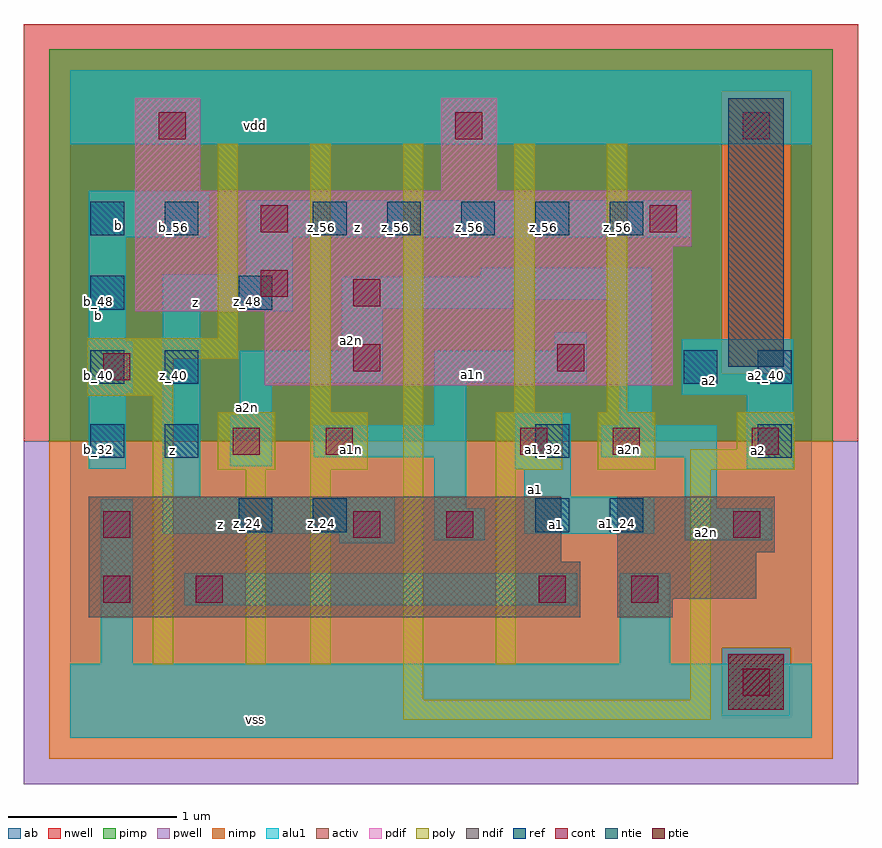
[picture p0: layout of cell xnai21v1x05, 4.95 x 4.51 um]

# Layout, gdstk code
import gdstk
lib = gdstk.Library(unit=1e-6, precision=2.5e-09)
def R(c, l, rs):  # rectangles x0, y0, x1, y1
    for r in rs: c.add(gdstk.rectangle(r[:2], r[2:], *l))
def A(c, l, x, y, w, h, nx, ny, dx, dy):  # array of equal rectangles
    R(c, l, [(x+i*dx, y+j*dy, x+i*dx+w, y+j*dy+h) for i in range(nx) for j in range(ny)])
ndif = (3, 0)
pdif = (4, 0)
ntie = (5, 0)
ptie = (6, 0)
ref = (24, 0)
cont = (25, 0)
pwell = (41, 0)
nwell = (42, 0)
activ = (43, 0)
pimp = (44, 0)
nimp = (45, 0)
poly = (46, 0)
alu1 = (49, 0)
ab = (63, 0)

xnai21v1x05 = lib.new_cell('xnai21v1x05')
R(xnai21v1x05, ndif, [(0.11,0.715,3.025,1.045), (3.245,0.715,3.575,0.825), (3.245,0.825,4.07,1.1), (0.11,1.045,2.915,1.43), (3.245,1.1,4.18,1.43)])
R(xnai21v1x05, pdif, [(1.155,2.09,3.575,2.53), (0.385,2.53,3.575,2.915), (0.385,2.915,3.685,3.245), (0.385,3.245,0.77,3.795), (2.2,3.245,2.53,3.795)])
R(xnai21v1x05, ntie, [(3.905,2.2,4.235,3.795)])
R(xnai21v1x05, ptie, [(3.905,0.165,4.235,0.495)])
A(xnai21v1x05, ref, 0.12, 1.66, 0.2, 0.2, 1, 4, 0, 0.44)
A(xnai21v1x05, ref, 1.44, 2.98, 0.2, 0.2, 5, 1, 0.44, 0)
R(xnai21v1x05, ref, [(1,1.22,1.2,1.42), (1.44,1.22,1.64,1.42), (2.76,1.22,2.96,1.42), (3.2,1.22,3.4,1.42), (0.56,1.66,0.76,1.86), (2.76,1.66,2.96,1.86), (4.08,1.66,4.28,1.86), (0.56,2.1,0.76,2.3), (3.64,2.1,3.84,2.3), (4.08,2.1,4.28,2.3), (1,2.54,1.2,2.74), (0.56,2.98,0.76,3.18)])
R(xnai21v1x05, cont, [(3.99,0.25,4.15,0.41), (0.195,0.8,0.355,0.96), (0.745,0.8,0.905,0.96), (2.78,0.8,2.94,0.96), (3.33,0.8,3.49,0.96), (0.195,1.185,0.355,1.345), (1.68,1.185,1.84,1.345), (2.23,1.185,2.39,1.345), (3.935,1.185,4.095,1.345), (0.965,1.68,1.125,1.84), (1.515,1.68,1.675,1.84), (2.67,1.68,2.83,1.84), (3.22,1.68,3.38,1.84), (4.045,1.68,4.205,1.84), (0.195,2.12,0.355,2.28), (1.68,2.175,1.84,2.335), (2.89,2.175,3.05,2.335), (1.68,2.56,1.84,2.72), (1.13,2.615,1.29,2.775), (1.13,3,1.29,3.16), (3.44,3,3.6,3.16), (0.525,3.55,0.685,3.71), (2.285,3.55,2.445,3.71), (3.99,3.55,4.15,3.71)])
R(xnai21v1x05, pwell, [(-0.275,-0.275,4.675,1.76)])
R(xnai21v1x05, nwell, [(-0.275,1.76,4.675,4.235)])
R(xnai21v1x05, activ, [(3.905,0.165,4.235,0.495), (0.11,0.715,3.025,1.045), (3.245,0.715,3.575,0.825), (3.245,0.825,4.07,1.1), (0.11,1.045,2.915,1.43), (3.245,1.1,4.18,1.43), (1.155,2.09,3.575,2.53), (3.905,2.2,4.235,3.795), (0.385,2.53,3.575,2.915), (0.385,2.915,3.685,3.245), (0.385,3.245,0.77,3.795), (2.2,3.245,2.53,3.795)])
R(xnai21v1x05, pimp, [(3.865,0.125,4.275,0.535), (-0.125,1.76,4.525,2.16), (-0.125,2.16,3.865,3.835), (4.275,2.16,4.525,3.835), (-0.125,3.835,4.525,4.085)])
R(xnai21v1x05, nimp, [(-0.125,-0.125,4.525,0.125), (-0.125,0.125,3.865,0.535), (4.275,0.125,4.525,0.535), (-0.125,0.535,4.525,1.76), (3.865,2.16,4.275,3.835)])
R(xnai21v1x05, poly, [(1.975,0.105,3.8,0.225), (1.975,0.225,2.095,3.525), (3.68,0.225,3.8,1.59), (0.49,0.435,0.61,2.03), (1.04,0.435,1.16,1.59), (1.425,0.435,1.545,1.59), (2.525,0.435,2.645,1.59), (0.875,1.59,1.215,1.93), (1.425,1.59,1.765,1.93), (2.525,1.59,2.92,1.93), (3.13,1.59,3.47,1.93), (3.68,1.59,4.295,1.71), (3.955,1.71,4.295,1.93), (1.425,1.93,1.545,3.525), (2.635,1.93,2.755,3.525), (3.185,1.93,3.305,3.525), (0.105,2.03,0.61,2.25), (0.105,2.25,0.995,2.37), (0.875,2.37,0.995,3.525)])
R(xnai21v1x05, alu1, [(0,0,4.4,0.44), (0.18,0.44,0.37,1.415), (3.26,0.44,3.56,0.975), (0.675,0.785,3.01,0.975), (1.595,1.155,1.925,1.21), (2.16,1.17,2.46,1.36), (3.645,1.17,4.165,1.36), (0.55,1.21,1.925,1.43), (2.695,1.21,3.465,1.43), (2.16,1.36,2.35,1.665), (3.645,1.36,3.835,1.665), (0.55,1.43,0.77,2.53), (2.695,1.43,2.97,1.595), (0.11,1.595,0.33,2.05), (2.64,1.595,2.97,1.925), (4.015,1.595,4.29,2.035), (0.95,1.61,1.195,1.91), (1.445,1.665,2.35,1.855), (3.15,1.665,3.835,1.855), (2.16,1.855,2.35,2.105), (3.26,1.855,3.45,2.6), (1.005,1.91,1.195,2.105), (3.63,2.035,4.29,2.365), (0.11,2.05,0.37,2.35), (1.005,2.105,1.855,2.295), (2.16,2.105,3.065,2.295), (1.61,2.295,1.855,2.545), (2.875,2.295,3.065,2.405), (0.11,2.35,0.33,2.97), (0.55,2.53,1.32,2.75), (1.61,2.545,2.625,2.6), (1.61,2.6,3.45,2.735), (2.435,2.735,3.45,2.79), (1.045,2.75,1.32,2.97), (0.11,2.97,0.825,3.245), (1.045,2.97,3.685,3.19), (0,3.52,4.4,3.96)])
R(xnai21v1x05, ab, [(0,0,4.4,3.96)])
xnai21v1x05.add(gdstk.Label('vss', (1.1,0.11), layer=49, texttype=0))
xnai21v1x05.add(gdstk.Label('a2n', (3.775,1.2175), layer=49, texttype=0))
xnai21v1x05.add(gdstk.Label('a2', (4.0825,1.705), layer=49, texttype=0))
xnai21v1x05.add(gdstk.Label('a1', (2.8875,1.265), layer=49, texttype=0))
xnai21v1x05.add(gdstk.Label('a1', (2.7625,1.47), layer=49, texttype=0))
xnai21v1x05.add(gdstk.Label('a2n', (3.32,1.7125), layer=49, texttype=0))
xnai21v1x05.add(gdstk.Label('a2', (3.795,2.1175), layer=49, texttype=0))
xnai21v1x05.add(gdstk.Label('z', (0.8925,1.265), layer=49, texttype=0))
xnai21v1x05.add(gdstk.Label('a1n', (1.67,1.7125), layer=49, texttype=0))
xnai21v1x05.add(gdstk.Label('a2n', (1.0525,1.9575), layer=49, texttype=0))
xnai21v1x05.add(gdstk.Label('a1n', (2.385,2.1525), layer=49, texttype=0))
xnai21v1x05.add(gdstk.Label('a2n', (1.67,2.3575), layer=49, texttype=0))
xnai21v1x05.add(gdstk.Label('z', (0.605,1.705), layer=49, texttype=0))
xnai21v1x05.add(gdstk.Label('z', (0.7425,2.585), layer=49, texttype=0))
xnai21v1x05.add(gdstk.Label('b', (0.165,2.505), layer=49, texttype=0))
xnai21v1x05.add(gdstk.Label('z', (1.705,3.025), layer=49, texttype=0))
xnai21v1x05.add(gdstk.Label('b', (0.2875,3.0375), layer=49, texttype=0))
xnai21v1x05.add(gdstk.Label('vdd', (1.1,3.63), layer=49, texttype=0))
xnai21v1x05.add(gdstk.Label('a2_32', (4.13,1.71), layer=24, texttype=0))
xnai21v1x05.add(gdstk.Label('a2_40', (3.69,2.15), layer=24, texttype=0))
xnai21v1x05.add(gdstk.Label('a2_40', (4.13,2.15), layer=24, texttype=0))
xnai21v1x05.add(gdstk.Label('a1_24', (3.25,1.27), layer=24, texttype=0))
xnai21v1x05.add(gdstk.Label('a1_24', (2.81,1.27), layer=24, texttype=0))
xnai21v1x05.add(gdstk.Label('z_24', (1.05,1.27), layer=24, texttype=0))
xnai21v1x05.add(gdstk.Label('b_56', (0.17,3.03), layer=24, texttype=0))
xnai21v1x05.add(gdstk.Label('b_56', (0.61,3.03), layer=24, texttype=0))
xnai21v1x05.add(gdstk.Label('b_48', (0.17,2.59), layer=24, texttype=0))
xnai21v1x05.add(gdstk.Label('z_24', (1.49,1.27), layer=24, texttype=0))
xnai21v1x05.add(gdstk.Label('z_40', (0.61,2.15), layer=24, texttype=0))
xnai21v1x05.add(gdstk.Label('b_40', (0.17,2.15), layer=24, texttype=0))
xnai21v1x05.add(gdstk.Label('z_32', (0.61,1.71), layer=24, texttype=0))
xnai21v1x05.add(gdstk.Label('b_32', (0.17,1.71), layer=24, texttype=0))
xnai21v1x05.add(gdstk.Label('z_48', (1.05,2.59), layer=24, texttype=0))
xnai21v1x05.add(gdstk.Label('a1_32', (2.81,1.71), layer=24, texttype=0))
xnai21v1x05.add(gdstk.Label('z_56', (3.25,3.03), layer=24, texttype=0))
xnai21v1x05.add(gdstk.Label('z_56', (1.49,3.03), layer=24, texttype=0))
xnai21v1x05.add(gdstk.Label('z_56', (1.93,3.03), layer=24, texttype=0))
xnai21v1x05.add(gdstk.Label('z_56', (2.37,3.03), layer=24, texttype=0))
xnai21v1x05.add(gdstk.Label('z_56', (2.81,3.03), layer=24, texttype=0))

lib.write_gds('xnai21v1x05.gds')
